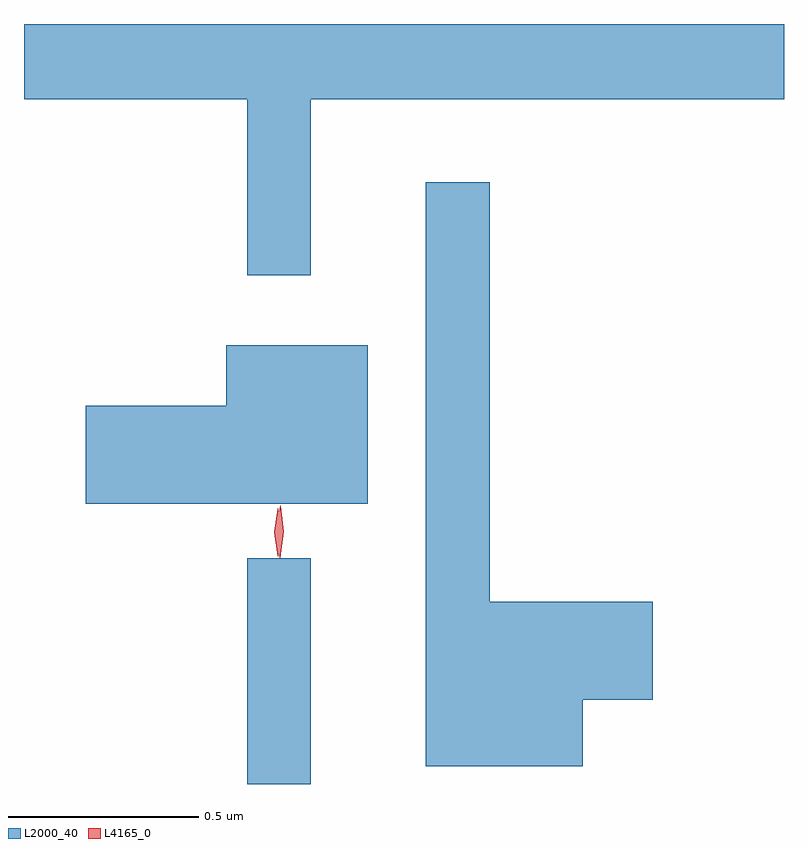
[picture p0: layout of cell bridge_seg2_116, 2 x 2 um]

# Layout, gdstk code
import gdstk
lib = gdstk.Library(unit=1e-6, precision=1e-09)
def R(c, l, rs):  # rectangles x0, y0, x1, y1
    for r in rs: c.add(gdstk.rectangle(r[:2], r[2:], *l))
def P(c, l, *ps):  # polygons
    for p in ps: c.add(gdstk.Polygon(p, *l))
L2000_40 = (2000, 40)
L4165_0 = (4165, 0)

bridge_seg2_116 = lib.new_cell('bridge_seg2_116')
R(bridge_seg2_116, L2000_40, [(917.611,1066.494,917.779,1067.088)])
P(bridge_seg2_116, L2000_40, [(917.779,1068.296),(919.024,1068.296),(919.024,1068.494),(917.024,1068.494),(917.024,1068.296),(917.611,1068.296),(917.611,1067.833),(917.779,1067.833)],
  [(918.494,1066.716),(918.679,1066.716),(918.679,1066.974),(918.249,1066.974),(918.249,1068.078),(918.081,1068.078),(918.081,1066.541),(918.494,1066.541)],
  [(917.929,1067.649),(917.556,1067.649),(917.556,1067.489),(917.186,1067.489),(917.186,1067.231),(917.929,1067.231)])
P(bridge_seg2_116, L4165_0, [(917.697,1067.09),(917.697,1067.09),(917.688,1067.158),(917.698,1067.226),(917.699,1067.226),(917.699,1067.226),(917.708,1067.158),(917.698,1067.09)],
  [(917.692,1067.093),(917.692,1067.093),(917.682,1067.156),(917.692,1067.219),(917.692,1067.22),(917.693,1067.219),(917.702,1067.156),(917.693,1067.093)])

lib.write_gds('bridge_seg2_116.gds')
